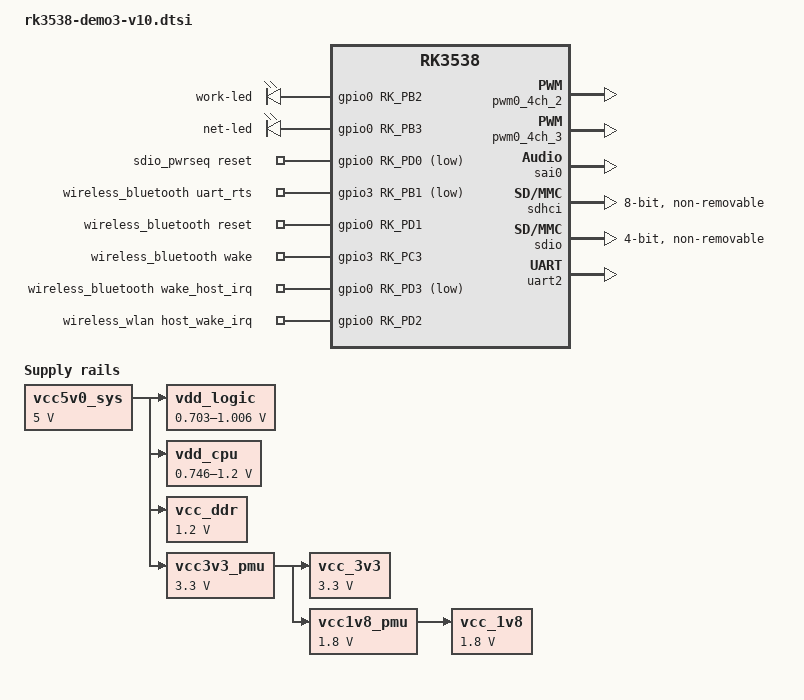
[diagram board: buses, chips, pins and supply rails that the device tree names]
// SPDX-License-Identifier: (GPL-2.0+ OR MIT)
/*
 * Copyright (c) 2025 Rockchip Electronics Co., Ltd.
 *
 */

/dts-v1/;

#include "rk3538.dtsi"
#include "rk3538-evb-input-keymap.dtsi"
#include "rk3538-demo.dtsi"

/{
	bt_sco: bt-sco {
		status = "okay";
		compatible = "delta,dfbmcs320";
		#sound-dai-cells = <1>;
	};

	bt_sound: bt-sound {
		status = "okay";
		compatible = "simple-audio-card";
		simple-audio-card,format = "dsp_a";
		simple-audio-card,bitclock-inversion;
		simple-audio-card,mclk-fs = <256>;
		simple-audio-card,name = "rockchip,bt";
		simple-audio-card,cpu {
			sound-dai = <&sai0>;
		};
		simple-audio-card,codec {
			sound-dai = <&bt_sco 1>;
		};
	};

	gpio-leds {
		compatible = "gpio-leds";

		work-led {
			gpios = <&gpio0 RK_PB2 GPIO_ACTIVE_HIGH>;
			linux,default-trigger = "timer";
		};
		net-led {
			gpios = <&gpio0 RK_PB3 GPIO_ACTIVE_HIGH>;
			linux,default-trigger = "none";
			default-state = "off";
		};
	};

	sdio_pwrseq: sdio-pwrseq {
		compatible = "mmc-pwrseq-simple";
		pinctrl-names = "default";
		pinctrl-0 = <&wifi_enable_h &sdio_reset>;
		post-power-on-delay-ms = <200>;
		reset-gpios = <&gpio0 RK_PD0 GPIO_ACTIVE_LOW>;
		status = "okay";
	};

	vcc5v0_sys: vcc5v0-sys {
		compatible = "regulator-fixed";
		regulator-name = "vcc5v0_sys";
		regulator-always-on;
		regulator-boot-on;
		regulator-min-microvolt = <5000000>;
		regulator-max-microvolt = <5000000>;
	};

	vdd_logic: vdd-logic {
		compatible = "pwm-regulator";
		pwms = <&pwm0_4ch_2 0 25000 1>;
		regulator-name = "vdd_logic";
		regulator-init-microvolt = <901000>;
		regulator-min-microvolt = <703000>;
		regulator-max-microvolt = <1006000>;
		regulator-settling-time-up-us = <250>;
		regulator-always-on;
		regulator-boot-on;
		vin-supply = <&vcc5v0_sys>;
	};

	vdd_cpu: vdd-cpu {
		compatible = "pwm-regulator";
		pwms = <&pwm0_4ch_3 0 25000 1>;
		regulator-name = "vdd_cpu";
		regulator-init-microvolt = <953000>;
		regulator-min-microvolt = <746000>;
		regulator-max-microvolt = <1200000>;
		regulator-settling-time-up-us = <250>;
		regulator-always-on;
		regulator-boot-on;
		vin-supply = <&vcc5v0_sys>;
	};

	vcc_ddr: vcc-ddr {
		compatible = "regulator-fixed";
		regulator-name = "vcc_ddr";
		regulator-min-microvolt = <1200000>;
		regulator-max-microvolt = <1200000>;
		enable-active-low;
		regulator-boot-on;
		vin-supply = <&vcc5v0_sys>;
	};

	vcc3v3_pmu: vcc3v3-pmu {
		compatible = "regulator-fixed";
		regulator-name = "vcc3v3_pmu";
		regulator-min-microvolt = <3300000>;
		regulator-max-microvolt = <3300000>;
		enable-active-low;
		regulator-boot-on;
		vin-supply = <&vcc5v0_sys>;
	};

	vcc_3v3: vcc_3v3 {
		compatible = "regulator-fixed";
		regulator-name = "vcc_3v3";
		regulator-min-microvolt = <3300000>;
		regulator-max-microvolt = <3300000>;
		enable-active-low;
		regulator-boot-on;
		vin-supply = <&vcc3v3_pmu>;
	};

	vcc1v8_pmu: vcc1v8-pmu {
		compatible = "regulator-fixed";
		regulator-name = "vcc1v8_pmu";
		regulator-min-microvolt = <1800000>;
		regulator-max-microvolt = <1800000>;
		enable-active-low;
		regulator-boot-on;
		vin-supply = <&vcc3v3_pmu>;
	};

	vcc_1v8: vcc-1v8 {
		compatible = "regulator-fixed";
		regulator-name = "vcc_1v8";
		regulator-min-microvolt = <1800000>;
		regulator-max-microvolt = <1800000>;
		enable-active-low;
		regulator-boot-on;
		vin-supply = <&vcc1v8_pmu>;
	};

	wireless_bluetooth: wireless-bluetooth {
		compatible = "bluetooth-platdata";
		uart_rts_gpios = <&gpio3 RK_PB1 GPIO_ACTIVE_LOW>;
		pinctrl-names = "default", "rts_gpio";
		pinctrl-0 = <&uart2m0_rtsn_pins>;
		pinctrl-1 = <&uart2m0_gpios>;
		BT,reset_gpio    = <&gpio0 RK_PD1 GPIO_ACTIVE_HIGH>;
		BT,wake_gpio     = <&gpio3 RK_PC3 GPIO_ACTIVE_HIGH>;
		BT,wake_host_irq = <&gpio0 RK_PD3 GPIO_ACTIVE_LOW>;
		status = "okay";
	};

	wireless_wlan: wireless-wlan {
		compatible = "wlan-platdata";
		wifi_chip_type = "sw6621";
		pinctrl-names = "default";
		pinctrl-0 = <&wifi_host_wake_irq>;
		WIFI,host_wake_irq = <&gpio0 RK_PD2 GPIO_ACTIVE_HIGH>;
		status = "okay";
	};
};

&cpu0 {
	cpu-supply = <&vdd_cpu>;
};

&cpu2 {
	cpu-supply = <&vdd_cpu>;
};

&gpu {
	mali-supply = <&vdd_logic>;
};

&pinctrl {
	sdio-pwrseq {
		wifi_enable_h: wifi-enable-h {
			rockchip,pins = <0 RK_PD0 RK_FUNC_GPIO &pcfg_pull_none>;
		};
	};

	wireless-bluetooth {
		uart2m0_gpios: uart2m0-gpios {
			rockchip,pins = <3 RK_PB1 RK_FUNC_GPIO &pcfg_pull_none>;
		};
	};

	wireless-wlan {
		wifi_host_wake_irq: wifi-host-wake-irq {
			rockchip,pins = <0 RK_PD2 RK_FUNC_GPIO &pcfg_pull_down>;
		};

		sdio_reset: sdio-reset {
			rockchip,pins = <3 RK_PA6 RK_FUNC_GPIO &pcfg_output_high>;
		};
	};
};

&pwm0_4ch_2 {
	status = "okay";
};

&pwm0_4ch_3 {
	pinctrl-0 = <&pwm0m1_ch3_pins>;
	status = "okay";
};

&sai0 {
	status = "okay";
};

&sdhci {
	bus-width = <8>;
	max-frequency = <200000000>;
	mmc-hs400-1_8v;
	mmc-hs400-enhanced-strobe;
	no-sd;
	no-sdio;
	non-removable;
	status = "okay";
};

&sdio {
	max-frequency = <200000000>;
	no-sd;
	no-mmc;
	bus-width = <4>;
	cap-sd-highspeed;
	cap-sdio-irq;
	keep-power-in-suspend;
	non-removable;
	pinctrl-names = "default";
	pinctrl-0 = <&sdio_bus4_pins &sdio_cmd_pins &sdio_clk_pins>;
	sd-uhs-sdr104;
	mmc-pwrseq = <&sdio_pwrseq>;
	status = "okay";
};

&uart2 {
	status = "okay";
	pinctrl-names = "default";
	pinctrl-0 = <&uart2m0_xfer_pins &uart2m0_ctsn_pins>;
};

&rockchip_suspend {
	status = "okay";
	rockchip,sleep-debug-en = <1>;
	rockchip,virtual-poweroff = <1>;
	rockchip,sleep-mode-config = <
		(0
		| RKPM_SLP_DEEP1_MODE
		//| RKPM_SLP_PMIC_LP
		| RKPM_SLP_HW_PLLS_OFF
		| RKPM_SLP_PMUALIVE_32K
		//| RKPM_SLP_OSC_DIS
		//| RKPM_SLP_32K_EXT
		)
	>;
};

